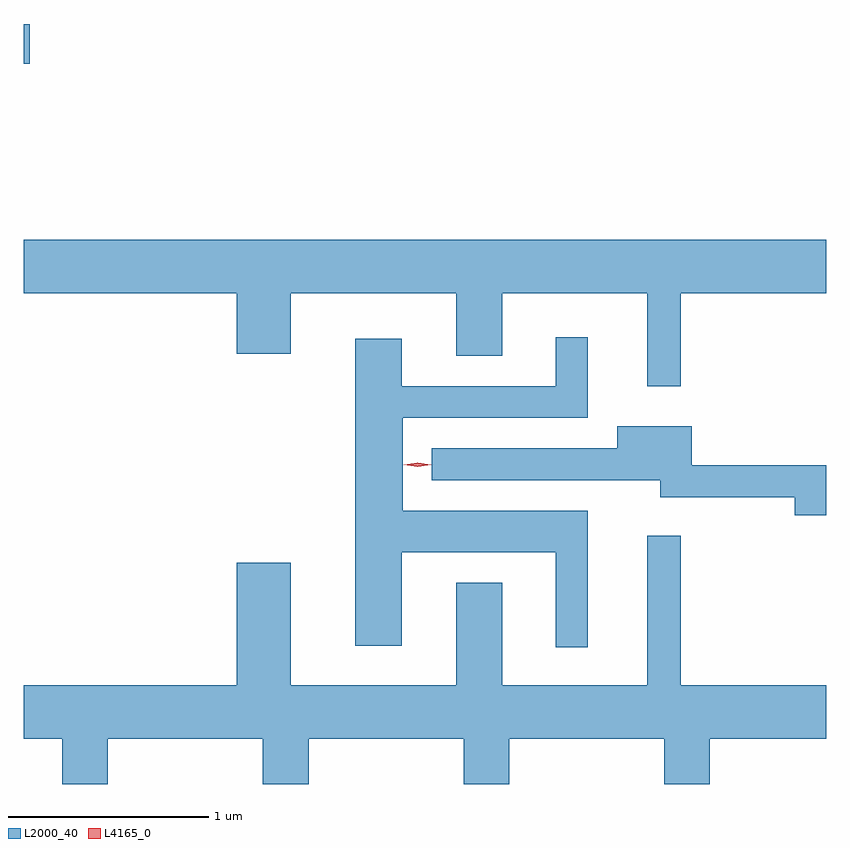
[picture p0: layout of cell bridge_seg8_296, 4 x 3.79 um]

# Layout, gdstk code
import gdstk
lib = gdstk.Library(unit=1e-6, precision=1e-09)
def R(c, l, rs):  # rectangles x0, y0, x1, y1
    for r in rs: c.add(gdstk.rectangle(r[:2], r[2:], *l))
def P(c, l, *ps):  # polygons
    for p in ps: c.add(gdstk.Polygon(p, *l))
L2000_40 = (2000, 40)
L4165_0 = (4165, 0)

bridge_seg8_296 = lib.new_cell('bridge_seg8_296')
R(bridge_seg8_296, L2000_40, [(1392.834,1859.761,1392.864,1859.959)])
P(bridge_seg8_296, L2000_40, [(1396.109,1858.616),(1396.834,1858.616),(1396.834,1858.884),(1392.834,1858.884),(1392.834,1858.616),(1393.896,1858.616),(1393.896,1858.316),(1394.164,1858.316),(1394.164,1858.616),(1394.991,1858.616),(1394.991,1858.306),(1395.219,1858.306),(1395.219,1858.616),(1395.941,1858.616),(1395.941,1858.153),(1396.109,1858.153)],
  [(1395.644,1857.534),(1394.724,1857.534),(1394.724,1857.996),(1395.644,1857.996),(1395.644,1858.398),(1395.486,1858.398),(1395.486,1858.154),(1394.719,1858.154),(1394.719,1858.389),(1394.486,1858.389),(1394.486,1856.861),(1394.719,1856.861),(1394.719,1857.326),(1395.486,1857.326),(1395.486,1856.853),(1395.644,1856.853)],
  [(1396.834,1857.759),(1396.164,1857.759),(1396.164,1857.954),(1395.791,1857.954),(1395.791,1857.844),(1394.868,1857.844),(1394.868,1857.686),(1396.006,1857.686),(1396.006,1857.601),(1396.676,1857.601),(1396.676,1857.511),(1396.834,1857.511)],
  [(1393.254,1856.396),(1394.026,1856.396),(1394.026,1856.171),(1394.254,1856.171),(1394.254,1856.396),(1395.026,1856.396),(1395.026,1856.171),(1395.254,1856.171),(1395.254,1856.396),(1396.026,1856.396),(1396.026,1856.171),(1396.254,1856.171),(1396.254,1856.396),(1396.834,1856.396),(1396.834,1856.664),(1396.109,1856.664),(1396.109,1857.408),(1395.941,1857.408),(1395.941,1856.664),(1395.219,1856.664),(1395.219,1857.174),(1394.991,1857.174),(1394.991,1856.664),(1394.164,1856.664),(1394.164,1857.274),(1393.896,1857.274),(1393.896,1856.664),(1392.834,1856.664),(1392.834,1856.396),(1393.026,1856.396),(1393.026,1856.171),(1393.254,1856.171)])
P(bridge_seg8_296, L4165_0, [(1394.796,1857.753),(1394.73,1857.762),(1394.73,1857.763),(1394.73,1857.763),(1394.796,1857.773),(1394.862,1857.763),(1394.863,1857.763),(1394.862,1857.762)],
  [(1394.797,1857.753),(1394.728,1857.762),(1394.727,1857.763),(1394.728,1857.763),(1394.797,1857.773),(1394.866,1857.763),(1394.866,1857.763),(1394.866,1857.762)])

lib.write_gds('bridge_seg8_296.gds')
